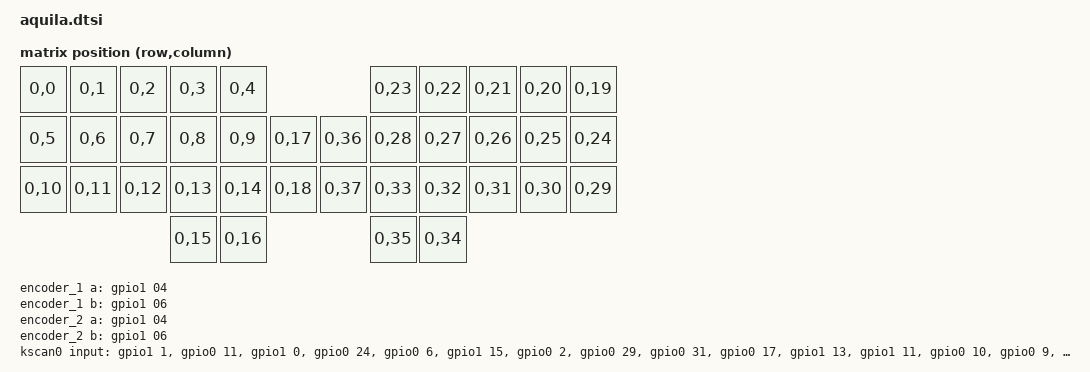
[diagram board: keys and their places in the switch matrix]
/*
 * Copyright (c) 2020 The ZMK Contributors
 *
 * SPDX-License-Identifier: MIT
 */

#include <dt-bindings/zmk/matrix_transform.h>
#include <zephyr/dt-bindings/pinctrl/nrf-pinctrl.h>

/ {

	chosen {
        zephyr,display = &oled;
		zmk,kscan = &kscan0;
		zmk,matrix_transform = &default_transform;
	};

        // Left encoder (shares pins with the OLED/I2C pads on encoder-only PCBs)
    encoder_1: encoder_1 {
        compatible = "alps,ec11";
        label = "Encoder 1";
        a-gpios = <&gpio1 04 (GPIO_ACTIVE_LOW | GPIO_PULL_UP)>;
        b-gpios = <&gpio1 06 (GPIO_ACTIVE_LOW | GPIO_PULL_UP)>;
        resolution = <4>;
        status = "okay";
    };

    // Right encoder
    encoder_2: encoder_2 {
        compatible = "alps,ec11";
        label = "Encoder 2";
        a-gpios = <&gpio1 04 (GPIO_ACTIVE_LOW | GPIO_PULL_UP)>;
        b-gpios = <&gpio1 06 (GPIO_ACTIVE_LOW | GPIO_PULL_UP)>;
        resolution = <4>;
        status = "okay";
    };

    sensors {
        compatible = "zmk,keymap-sensors";
        sensors = <&encoder_1 &encoder_2>;
    };

	default_transform: keymap_transform_0 {
		compatible = "zmk,matrix-transform";
		columns = <38>;
		rows = <1>;
		map = <
		RC(0,0)  RC(0,1)  RC(0,2)  RC(0,3)  RC(0,4)                      RC(0,23) RC(0,22) RC(0,21) RC(0,20) RC(0,19) 
		RC(0,5)  RC(0,6)  RC(0,7)  RC(0,8)  RC(0,9)  RC(0,17)   RC(0,36) RC(0,28) RC(0,27) RC(0,26) RC(0,25) RC(0,24)  
		RC(0,10) RC(0,11) RC(0,12) RC(0,13) RC(0,14) RC(0,18)   RC(0,37) RC(0,33) RC(0,32) RC(0,31) RC(0,30) RC(0,29)  
		                           RC(0,15) RC(0,16)                     RC(0,35) RC(0,34) 
		>;
	};

	kscan0: kscan {
		compatible = "zmk,kscan-gpio-direct";
		label = "KSCAN";
		input-gpios
		= <&gpio1 1  (GPIO_ACTIVE_LOW | GPIO_PULL_UP)>
		, <&gpio0 11 (GPIO_ACTIVE_LOW | GPIO_PULL_UP)>
		, <&gpio1 0  (GPIO_ACTIVE_LOW | GPIO_PULL_UP)>
		, <&gpio0 24 (GPIO_ACTIVE_LOW | GPIO_PULL_UP)>
		, <&gpio0 6  (GPIO_ACTIVE_LOW | GPIO_PULL_UP)>

		, <&gpio1 15 (GPIO_ACTIVE_LOW | GPIO_PULL_UP)>
		, <&gpio0 2  (GPIO_ACTIVE_LOW | GPIO_PULL_UP)>
		, <&gpio0 29 (GPIO_ACTIVE_LOW | GPIO_PULL_UP)>
		, <&gpio0 31 (GPIO_ACTIVE_LOW | GPIO_PULL_UP)>
		, <&gpio0 17 (GPIO_ACTIVE_LOW | GPIO_PULL_UP)>
		
		, <&gpio1 13 (GPIO_ACTIVE_LOW | GPIO_PULL_UP)>
		, <&gpio1 11 (GPIO_ACTIVE_LOW | GPIO_PULL_UP)>
		, <&gpio0 10 (GPIO_ACTIVE_LOW | GPIO_PULL_UP)>
		, <&gpio0 9  (GPIO_ACTIVE_LOW | GPIO_PULL_UP)>
		, <&gpio1 7  (GPIO_ACTIVE_LOW | GPIO_PULL_UP)>

		, <&gpio1 2  (GPIO_ACTIVE_LOW | GPIO_PULL_UP)>
		, <&gpio0 22 (GPIO_ACTIVE_LOW | GPIO_PULL_UP)>
		, <&gpio0 8  (GPIO_ACTIVE_LOW | GPIO_PULL_UP)>
		, <&gpio0 20  (GPIO_ACTIVE_LOW | GPIO_PULL_UP)>
		;
	};

};


&pro_micro_i2c {
    status = "okay";
    pinctrl-0 = <&pro_micro_i2c_alt_default>;
    pinctrl-1 = <&pro_micro_i2c_alt_sleep>;
    pinctrl-names = "default", "sleep";

    oled: ssd1306@3c {
        compatible = "solomon,ssd1306fb";
        reg = <0x3c>;
        label = "DISPLAY";
        width = <128>;
        height = <32>;
        segment-offset = <0>;
        page-offset = <0>;
        display-offset = <0>;
        multiplex-ratio = <31>;
        segment-remap;
        com-invdir;
        com-sequential;
        prechargep = <0x22>;
    };
};

&pinctrl {
    pro_micro_i2c_alt_default: pro_micro_i2c_alt_default {
        group1 {
            /* P1.04/P1.06 = pins 36/38 used by the right-half OLED */
            psels = <NRF_PSEL(TWIM_SDA, 1, 4)>, <NRF_PSEL(TWIM_SCL, 1, 6)>;
        };
    };

    pro_micro_i2c_alt_sleep: pro_micro_i2c_alt_sleep {
        group1 {
            psels = <NRF_PSEL(TWIM_SDA, 1, 4)>, <NRF_PSEL(TWIM_SCL, 1, 6)>;
            low-power-enable;
        };
    };
};
